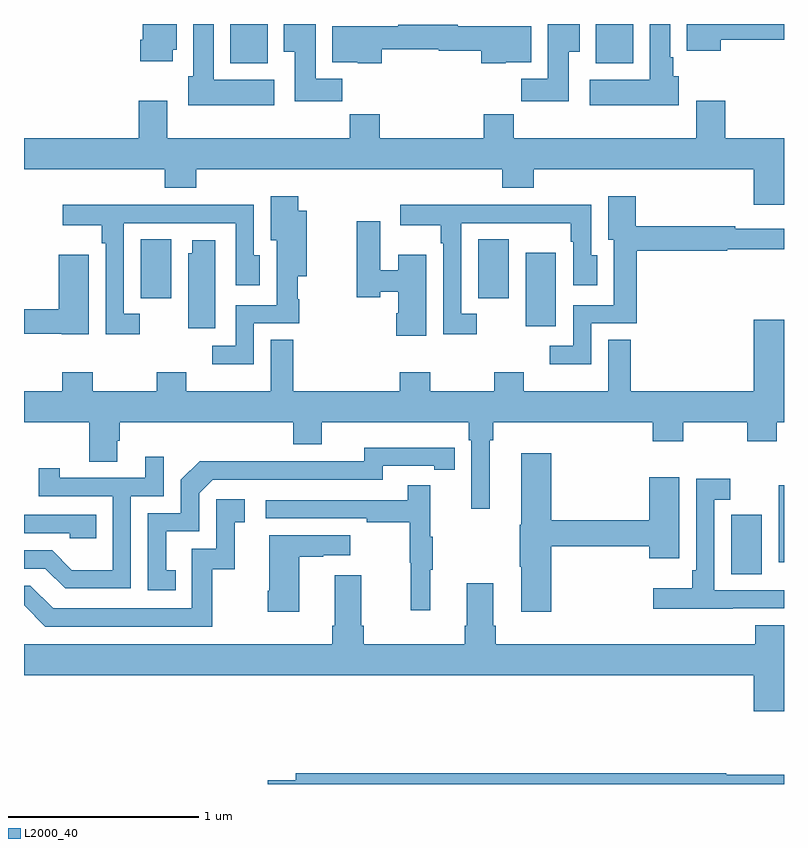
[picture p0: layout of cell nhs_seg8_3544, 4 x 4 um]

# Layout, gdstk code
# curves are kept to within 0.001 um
import gdstk
lib = gdstk.Library(unit=1e-6, precision=1e-09)
def R(c, l, rs):  # rectangles x0, y0, x1, y1
    for r in rs: c.add(gdstk.rectangle(r[:2], r[2:], *l))
def P(c, l, *ps):  # polygons
    for p in ps: c.add(gdstk.Polygon(p, *l))
L2000_40 = (2000, 40)

nhs_seg8_3544 = lib.new_cell('nhs_seg8_3544')
R(nhs_seg8_3544, L2000_40, [(332.723,1145.005,332.884,1145.316), (332.972,1145.067,333,1145.473), (331.64,1146.308,331.798,1146.697), (329.615,1146.456,329.776,1146.767), (331.391,1146.456,331.552,1146.767), (330.086,1147.694,330.283,1147.9), (332.009,1147.694,332.206,1147.9)])
P(nhs_seg8_3544, L2000_40, [(332.668,1147.816),(333,1147.816),(333,1147.9),(332.489,1147.9),(332.489,1147.76),(332.668,1147.76)],
  [(330.674,1147.612),(330.535,1147.612),(330.535,1147.9),(330.368,1147.9),(330.368,1147.753),(330.425,1147.753),(330.425,1147.494),(330.674,1147.494)],
  [(331.867,1147.753),(331.924,1147.753),(331.924,1147.9),(331.757,1147.9),(331.757,1147.612),(331.618,1147.612),(331.618,1147.494),(331.867,1147.494)],
  [(329.782,1147.764),(329.803,1147.764),(329.803,1147.9),(329.624,1147.9),(329.624,1147.816),(329.612,1147.816),(329.612,1147.704),(329.782,1147.704)],
  [(332.446,1147.626),(332.416,1147.626),(332.416,1147.726),(332.401,1147.726),(332.401,1147.9),(332.294,1147.9),(332.294,1147.606),(331.977,1147.606),(331.977,1147.472),(332.446,1147.472)],
  [(330.316,1147.606),(329.998,1147.606),(329.998,1147.9),(329.891,1147.9),(329.891,1147.626),(329.864,1147.626),(329.864,1147.472),(330.316,1147.472)],
  [(330.882,1147.767),(331.182,1147.767),(331.182,1147.759),(331.406,1147.759),(331.406,1147.694),(331.536,1147.694),(331.536,1147.7),(331.669,1147.7),(331.669,1147.888),(331.282,1147.888),(331.282,1147.895),(330.97,1147.895),(330.97,1147.888),(330.623,1147.888),(330.623,1147.7),(330.756,1147.7),(330.756,1147.694),(330.882,1147.694)],
  [(333,1147.3),(332.69,1147.3),(332.69,1147.495),(332.537,1147.495),(332.537,1147.3),(331.577,1147.3),(331.577,1147.424),(331.421,1147.424),(331.421,1147.3),(330.872,1147.3),(330.872,1147.424),(330.715,1147.424),(330.715,1147.3),(329.755,1147.3),(329.755,1147.495),(329.603,1147.495),(329.603,1147.3),(329,1147.3),(329,1147.136),(329.741,1147.136),(329.741,1147.037),(329.906,1147.037),(329.906,1147.136),(331.517,1147.136),(331.517,1147.037),(331.682,1147.037),(331.682,1147.136),(332.84,1147.136),(332.84,1146.948),(333,1146.948)],
  [(331.986,1146.324),(332.224,1146.324),(332.224,1146.706),(332.702,1146.706),(332.702,1146.714),(333,1146.714),(333,1146.822),(332.744,1146.822),(332.744,1146.835),(332.219,1146.835),(332.219,1146.994),(332.075,1146.994),(332.075,1146.765),(332.105,1146.765),(332.105,1146.42),(331.89,1146.42),(331.89,1146.207),(331.767,1146.207),(331.767,1146.11),(331.986,1146.11)],
  [(330.21,1146.324),(330.448,1146.324),(330.448,1146.452),(330.44,1146.452),(330.44,1146.572),(330.487,1146.572),(330.487,1146.916),(330.443,1146.916),(330.443,1146.994),(330.299,1146.994),(330.299,1146.761),(330.329,1146.761),(330.329,1146.42),(330.114,1146.42),(330.114,1146.207),(329.991,1146.207),(329.991,1146.11),(330.21,1146.11)],
  [(331.384,1146.375),(331.302,1146.375),(331.302,1146.852),(331.648,1146.852),(331.648,1146.851),(331.878,1146.851),(331.878,1146.755),(331.89,1146.755),(331.89,1146.525),(332.017,1146.525),(332.017,1146.684),(331.986,1146.684),(331.986,1146.95),(331.765,1146.95),(331.765,1146.948),(331.399,1146.948),(331.399,1146.95),(330.981,1146.95),(330.981,1146.842),(331.194,1146.842),(331.194,1146.746),(331.206,1146.746),(331.206,1146.267),(331.384,1146.267)],
  [(329.608,1146.375),(329.526,1146.375),(329.526,1146.852),(330.114,1146.852),(330.114,1146.525),(330.241,1146.525),(330.241,1146.684),(330.21,1146.684),(330.21,1146.95),(329.989,1146.95),(329.989,1146.948),(329.623,1146.948),(329.623,1146.95),(329.205,1146.95),(329.205,1146.842),(329.41,1146.842),(329.41,1146.746),(329.43,1146.746),(329.43,1146.267),(329.608,1146.267)],
  [(331.117,1146.685),(330.971,1146.685),(330.971,1146.603),(330.874,1146.603),(330.874,1146.862),(330.752,1146.862),(330.752,1146.461),(330.874,1146.461),(330.874,1146.492),(330.971,1146.492),(330.971,1146.377),(330.959,1146.377),(330.959,1146.258),(331.117,1146.258)],
  [(330.007,1146.763),(329.885,1146.763),(329.885,1146.693),(329.864,1146.693),(329.864,1146.3),(330.007,1146.3)],
  [(329.341,1146.685),(329.183,1146.685),(329.183,1146.398),(329,1146.398),(329,1146.27),(329.199,1146.27),(329.199,1146.266),(329.341,1146.266)],
  [(329.698,1146.067),(329.698,1145.968),(329.361,1145.968),(329.361,1146.067),(329.201,1146.067),(329.201,1145.968),(329,1145.968),(329,1145.804),(329.344,1145.804),(329.344,1145.596),(329.491,1145.596),(329.491,1145.706),(329.504,1145.706),(329.504,1145.804),(330.416,1145.804),(330.416,1145.687),(330.568,1145.687),(330.568,1145.804),(331.34,1145.804),(331.34,1145.708),(331.353,1145.708),(331.353,1145.349),(331.45,1145.349),(331.45,1145.708),(331.469,1145.708),(331.469,1145.804),(332.309,1145.804),(332.309,1145.705),(332.469,1145.705),(332.469,1145.804),(332.806,1145.804),(332.806,1145.705),(332.961,1145.705),(332.961,1145.804),(333,1145.804),(333,1146.343),(332.84,1146.343),(332.84,1145.968),(332.194,1145.968),(332.194,1146.239),(332.075,1146.239),(332.075,1145.968),(331.629,1145.968),(331.629,1146.067),(331.474,1146.067),(331.474,1145.968),(331.137,1145.968),(331.137,1146.067),(330.977,1146.067),(330.977,1145.968),(330.418,1145.968),(330.418,1146.239),(330.299,1146.239),(330.299,1145.968),(329.853,1145.968),(329.853,1146.067)],
  [(329.798,1145.025),(329.749,1145.025),(329.749,1145.229),(329.922,1145.229),(329.922,1145.43),(329.994,1145.502),(330.888,1145.502),(330.888,1145.574),(331.16,1145.574),(331.16,1145.554),(331.268,1145.554),(331.268,1145.67),(330.792,1145.671),(330.792,1145.598),(330.332,1145.598),(330.332,1145.6),(329.924,1145.6),(329.826,1145.502),(329.826,1145.325),(329.652,1145.325),(329.652,1144.92),(329.798,1144.92)],
  [(331.775,1145.152),(332.291,1145.152),(332.291,1145.088),(332.449,1145.088),(332.449,1145.515),(332.291,1145.515),(332.291,1145.288),(331.775,1145.288),(331.775,1145.641),(331.616,1145.641),(331.616,1145.265),(331.609,1145.265),(331.609,1145.044),(331.616,1145.044),(331.616,1144.806),(331.775,1144.806)],
  [(329.562,1145.415),(329.736,1145.415),(329.736,1145.623),(329.639,1145.623),(329.639,1145.511),(329.188,1145.511),(329.188,1145.563),(329.077,1145.563),(329.077,1145.415),(329.466,1145.415),(329.466,1145.026),(329.252,1145.026),(329.148,1145.13),(329,1145.13),(329,1145.034),(329.111,1145.034),(329.216,1144.929),(329.562,1144.929)],
  [(332.731,1144.824),(333,1144.824),(333,1144.921),(332.98,1144.921),(332.98,1144.92),(332.634,1144.92),(332.634,1145.397),(332.716,1145.397),(332.716,1145.506),(332.538,1145.506),(332.538,1145.026),(332.518,1145.026),(332.518,1144.93),(332.313,1144.93),(332.313,1144.823),(332.731,1144.823)],
  [(331.139,1145.027),(331.15,1145.027),(331.15,1145.201),(331.139,1145.201),(331.139,1145.473),(331.021,1145.473),(331.021,1145.394),(330.273,1145.394),(330.273,1145.298),(330.805,1145.298),(330.805,1145.278),(331.029,1145.278),(331.029,1145.064),(331.036,1145.064),(331.036,1144.815),(331.139,1144.815)],
  [(329.992,1145.031),(330.11,1145.031),(330.11,1145.277),(330.163,1145.277),(330.163,1145.398),(330.012,1145.398),(330.012,1145.139),(329.883,1145.139),(329.883,1144.824),(329.154,1144.824),(329.034,1144.944),(329,1144.944),(329,1144.84),(329.112,1144.728),(329.992,1144.728)],
  [(329.381,1145.316),(329,1145.316),(329,1145.22),(329.241,1145.22),(329.241,1145.193),(329.381,1145.193)],
  [(330.448,1145.095),(330.575,1145.095),(330.575,1145.105),(330.718,1145.105),(330.718,1145.209),(330.29,1145.209),(330.29,1144.918),(330.283,1144.918),(330.283,1144.806),(330.448,1144.806)],
  [(333,1144.735),(332.849,1144.735),(332.849,1144.636),(331.484,1144.636),(331.484,1144.732),(331.471,1144.732),(331.471,1144.957),(331.331,1144.957),(331.331,1144.732),(331.319,1144.732),(331.319,1144.636),(330.788,1144.636),(330.788,1144.732),(330.775,1144.732),(330.775,1144.999),(330.635,1144.999),(330.635,1144.732),(330.623,1144.732),(330.623,1144.636),(329,1144.636),(329,1144.472),(332.84,1144.472),(332.84,1144.284),(333,1144.284)],
  [(333,1143.949),(332.696,1143.949),(332.696,1143.956),(330.431,1143.956),(330.431,1143.92),(330.282,1143.92),(330.282,1143.9),(333,1143.9)])

lib.write_gds('nhs_seg8_3544.gds')
